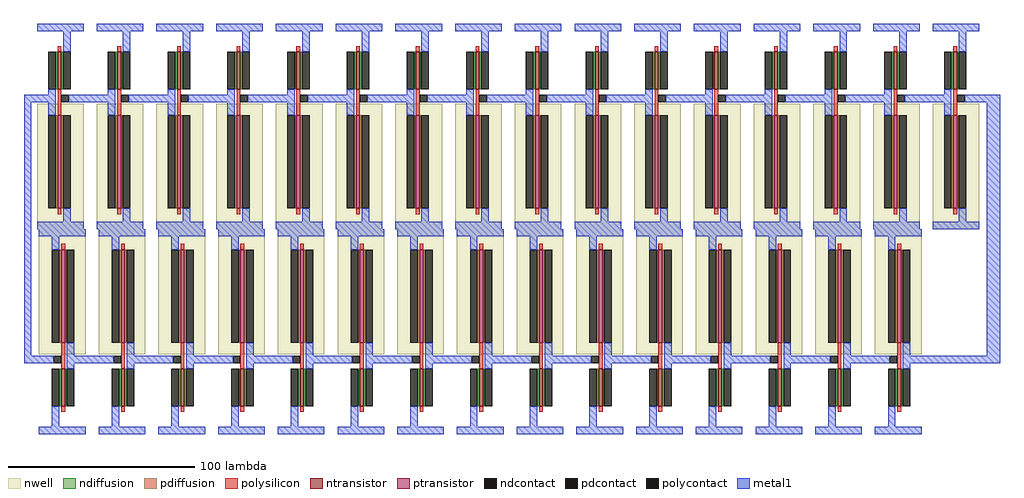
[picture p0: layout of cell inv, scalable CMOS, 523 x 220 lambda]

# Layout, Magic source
magic
tech scmos
<< metal1 >>
rect -4 38 0 182
rect 512 42 519 182
rect 480 38 519 42
use oinverter  oinverter_1
array 0 15 -32 0 0 -110
transform -1 0 20 0 -1 172
box -12 -48 20 62
use oinverter  oinverter_0
array 0 14 32 0 0 110
transform 1 0 12 0 1 48
box -12 -48 20 62
<< end >>

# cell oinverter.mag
magic
tech scmos
<< nwell >>
rect -8 -5 17 62
<< ntransistor >>
rect 4 -33 6 -13
<< ptransistor >>
rect 4 1 6 51
<< ndiffusion >>
rect 3 -33 4 -13
rect 6 -33 7 -13
<< pdiffusion >>
rect 3 1 4 51
rect 6 1 7 51
<< ndcontact >>
rect -1 -33 3 -13
rect 7 -33 11 -13
<< pdcontact >>
rect -1 1 3 51
rect 7 1 11 51
<< polysilicon >>
rect 4 51 6 54
rect 4 -13 6 1
rect 4 -36 6 -33
<< polycontact >>
rect 0 -10 4 -6
<< metal1 >>
rect -8 58 17 62
rect -1 51 3 58
rect 7 -6 11 1
rect -12 -10 0 -6
rect 7 -10 20 -6
rect 7 -13 11 -10
rect -1 -44 3 -33
rect -8 -48 17 -44
<< labels >>
rlabel metal1 -8 -8 -8 -8 3 in
rlabel metal1 19 -8 19 -8 7 out
rlabel metal1 16 61 16 61 6 vdd
rlabel metal1 16 -46 16 -46 8 gnd
<< end >>
